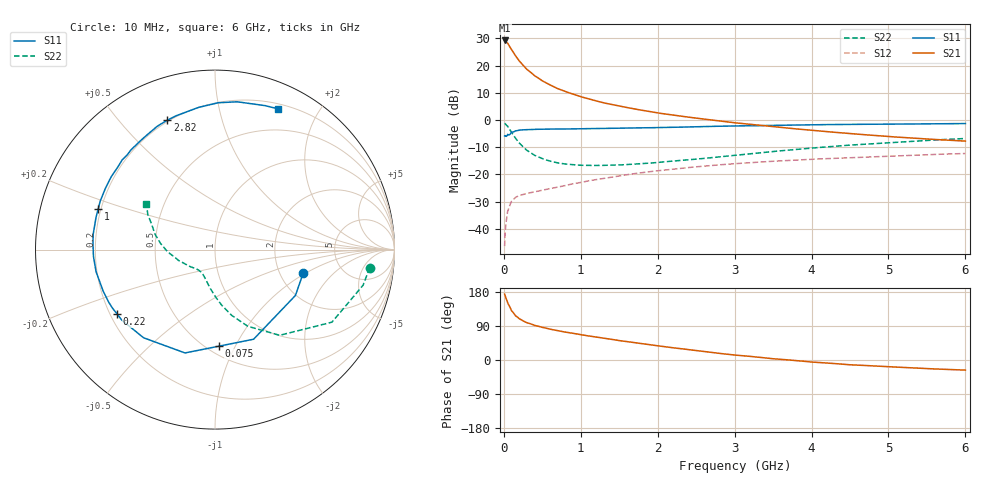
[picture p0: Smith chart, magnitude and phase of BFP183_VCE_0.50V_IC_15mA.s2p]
! Infineon Technologies  Discrete & RF Semiconductors
! BFP183
! VCE = 0.50V,  IC =  15 mA
! Common Emitter S-Parameters:  Jan 2016
# GHz  S  MA  R  50
!  f  S11  S21  S12  S22
! GHz  MAG  ANG  MAG  ANG  MAG  ANG  MAG  ANG
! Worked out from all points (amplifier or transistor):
!   210 points, 10 MHz to 6 GHz, reference 50 ohm
!   highest |S21| = 29.2 dB at 10 MHz (marker M1)
!   |S21| within 3 dB of that: start of sweep to 91.7 MHz
!   unconditionally stable (mu >= 1): 499.5 MHz to end of sweep
!   at 185 MHz: K = 0.47, MSG = 25.1 dB, |S12| = -28.0 dB
!   at 1.52 GHz: K = 1.52, MAG = 8.4 dB, |S12| = -20.4 dB
!   at 6 GHz: K = 1.32, MAG = -1.1 dB, |S12| = -12.3 dB
!   S11 on the Smith chart (normalised r, x): 10 MHz: 2.70, -0.94; 75 MHz: 0.57, -0.87; 220 MHz: 0.23, -0.29; 1 GHz: 0.19, +0.16; 2.82 GHz: 0.19, +0.68; 6 GHz: 0.25, +1.52
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0.01  0.5089 -14.7  28.94 173.7  0.0048 80.3  0.868 -6.7
0.02  0.5158 -29.7  28.66 167.5  0.0096 77.1  0.8487 -13.5
0.05  0.5437 -66.7  25.71 150.1  0.021 64.0  0.7669 -31.8
0.075  0.5381 -87.5  22.36 141.4  0.0264 54.7  0.671 -41.1
0.1  0.5996 -106.2  19.69 130.1  0.0322 48.7  0.598 -53.0
0.15  0.6322 -129.0  15.18 117.1  0.0378 40.4  0.4649 -66.8
0.2  0.6511 -142.9  12.19 109.0  0.0408 36.5  0.3786 -75.7
0.22  0.653 -146.6  11.32 106.9  0.0416 35.8  0.3547 -78.0
0.26  0.6607 -153.6  9.735 102.2  0.0432 34.7  0.3113 -83.2
0.3  0.6645 -159.6  8.502 98.4  0.0447 34.5  0.2769 -87.6
0.4  0.6739 -169.4  6.508 91.3  0.0476 35.4  0.2242 -95.9
0.5  0.6782 -176.7  5.241 86.1  0.0513 36.1  0.1944 -101.7
0.7  0.6841 172.8  3.77 77.3  0.0584 39.6  0.1626 -111.5
1  0.6887 160.8  2.678 66.8  0.0707 42.4  0.1472 -121.2
1.02  0.6896 160.1  2.631 66.2  0.0718 42.6  0.147 -121.8
1.5  0.7066 144.6  1.797 51.2  0.0942 43.3  0.1486 -133.9
2.02  0.727 129.6  1.336 37.0  0.1176 40.6  0.1668 -145.0
2.82  0.7685 110.2  0.955 17.1  0.1505 33.7  0.2115 -163.3
3.1  0.7787 104.3  0.861 11.4  0.1607 31.2  0.2312 -170.0
4.1  0.8203 87.2  0.628 -6.6  0.1924 21.8  0.3126 171.8
5.1  0.8399 74.7  0.486 -18.7  0.2182 13.6  0.3886 156.9
6  0.8594 65.8  0.409 -26.7  0.242 4.9  0.4574 146.6
